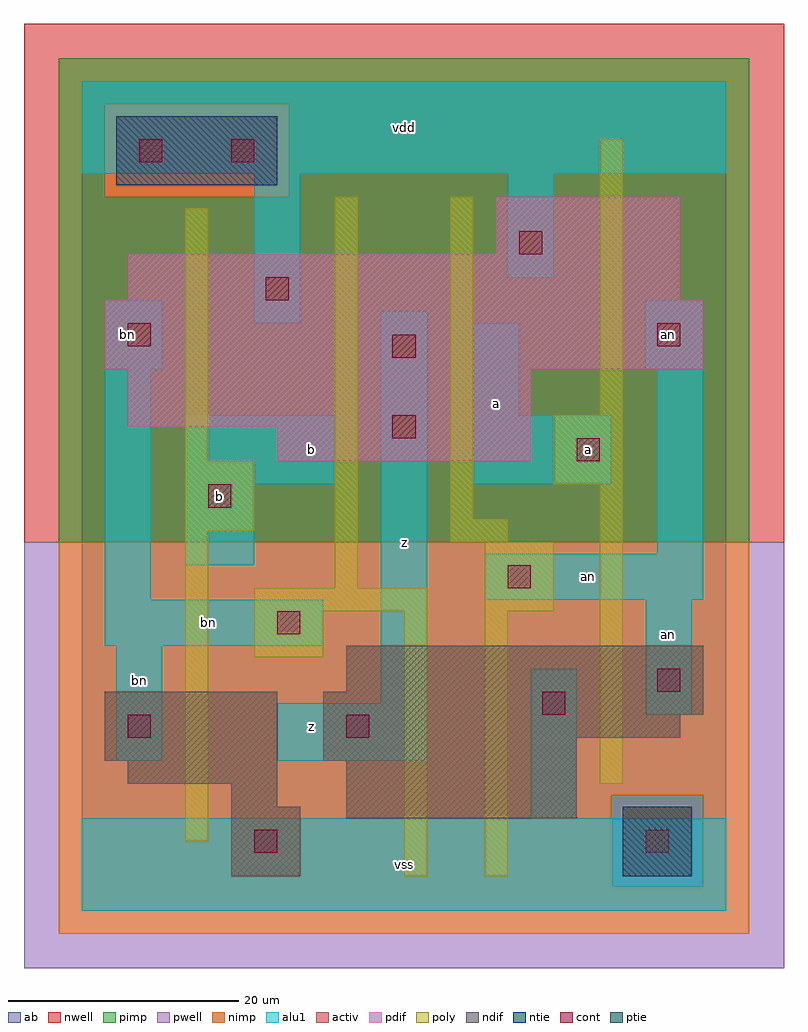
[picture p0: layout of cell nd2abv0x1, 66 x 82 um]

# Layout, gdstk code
import gdstk
lib = gdstk.Library(unit=1e-6, precision=1e-09)
def R(c, l, rs):  # rectangles x0, y0, x1, y1
    for r in rs: c.add(gdstk.rectangle(r[:2], r[2:], *l))
ndif = (3, 0)
pdif = (4, 0)
ntie = (5, 0)
ptie = (6, 0)
cont = (25, 0)
pwell = (41, 0)
nwell = (42, 0)
activ = (43, 0)
pimp = (44, 0)
nimp = (45, 0)
poly = (46, 0)
alu1 = (49, 0)
ab = (63, 0)

nd2abv0x1 = lib.new_cell('nd2abv0x1')
R(nd2abv0x1, ndif, [(13,3,19,9), (23,8,43,13), (13,9,17,11), (4,11,17,13), (2,13,17,19), (21,13,43,15), (21,15,52,17), (21,17,54,19), (23,19,54,23)])
R(nd2abv0x1, pdif, [(17,39,39,42), (4,42,39,47), (2,47,54,53), (4,53,52,57), (36,57,52,62)])
R(nd2abv0x1, ntie, [(3,63,17,69)])
R(nd2abv0x1, ptie, [(47,3,53,9)])
R(nd2abv0x1, cont, [(15,5,17,7), (49,5,51,7), (4,15,6,17), (23,15,25,17), (40,17,42,19), (50,19,52,21), (17,24,19,26), (37,28,39,30), (11,35,13,37), (43,39,45,41), (27,41,29,43), (27,48,29,50), (4,49,6,51), (50,49,52,51), (16,53,18,55), (38,57,40,59), (5,65,7,67), (13,65,15,67)])
R(nd2abv0x1, pwell, [(-5,-5,61,32)])
R(nd2abv0x1, nwell, [(-5,32,61,77)])
R(nd2abv0x1, activ, [(13,3,19,9), (47,3,53,9), (23,8,43,13), (13,9,17,11), (4,11,17,13), (2,13,17,19), (21,13,43,15), (21,15,52,17), (21,17,54,19), (23,19,54,23), (17,39,39,42), (4,42,39,47), (2,47,54,53), (4,53,52,57), (36,57,52,62), (3,63,17,69)])
R(nd2abv0x1, pimp, [(46,2,54,10), (-2,32,58,62), (-2,62,2,70), (18,62,58,70), (-2,70,58,74)])
R(nd2abv0x1, nimp, [(-2,-2,58,2), (-2,2,46,10), (54,2,58,10), (-2,10,58,32), (2,62,18,70)])
R(nd2abv0x1, poly, [(28,3,30,26), (35,3,37,26), (9,6,11,33), (45,11,47,37), (15,22,21,26), (15,26,30,28), (35,26,41,32), (22,28,24,62), (32,32,37,34), (9,33,15,39), (32,34,34,62), (41,37,47,43), (9,39,11,61), (45,43,47,67)])
R(nd2abv0x1, alu1, [(0,0,56,8), (39,8,43,21), (3,13,7,23), (17,13,30,18), (49,17,53,27), (26,18,30,52), (2,23,21,27), (2,27,6,47), (35,27,54,31), (9,30,15,37), (50,31,54,47), (9,37,22,43), (34,37,46,43), (34,43,38,51), (2,47,7,53), (49,47,54,53), (15,51,19,64), (37,55,41,64), (0,64,56,72)])
R(nd2abv0x1, ab, [(0,0,56,72)])
nd2abv0x1.add(gdstk.Label('bn', (5,20), layer=49, texttype=0))
nd2abv0x1.add(gdstk.Label('bn', (4,50), layer=49, texttype=0))
nd2abv0x1.add(gdstk.Label('bn', (11,25), layer=49, texttype=0))
nd2abv0x1.add(gdstk.Label('an', (51,24), layer=49, texttype=0))
nd2abv0x1.add(gdstk.Label('an', (44,29), layer=49, texttype=0))
nd2abv0x1.add(gdstk.Label('an', (51,50), layer=49, texttype=0))
nd2abv0x1.add(gdstk.Label('z', (20,16), layer=49, texttype=0))
nd2abv0x1.add(gdstk.Label('b', (20,40), layer=49, texttype=0))
nd2abv0x1.add(gdstk.Label('b', (12,36), layer=49, texttype=0))
nd2abv0x1.add(gdstk.Label('vss', (28,4), layer=49, texttype=0))
nd2abv0x1.add(gdstk.Label('z', (28,32), layer=49, texttype=0))
nd2abv0x1.add(gdstk.Label('a', (36,44), layer=49, texttype=0))
nd2abv0x1.add(gdstk.Label('vdd', (28,68), layer=49, texttype=0))
nd2abv0x1.add(gdstk.Label('a', (44,40), layer=49, texttype=0))

lib.write_gds('nd2abv0x1.gds')
